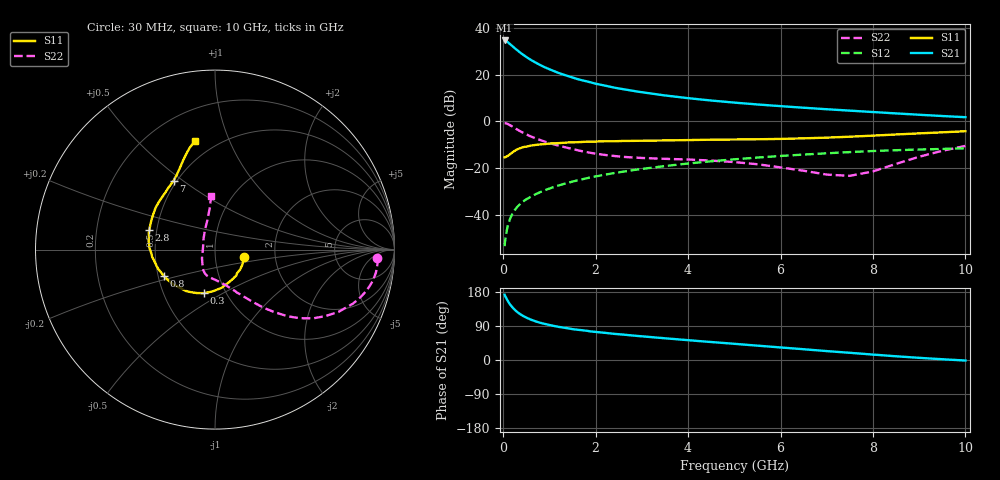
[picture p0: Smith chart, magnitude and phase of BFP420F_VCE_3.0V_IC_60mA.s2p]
! Infineon Technologies  Discrete & RF Semiconductors
! BFP420F
! VCE =  3.0 V,  IC =  60 mA
! Common Emitter S-Parameters:  Sep 2011
# GHz  S  MA  R  50
!  f  S11  S21  S12  S22
! GHz  MAG  ANG  MAG  ANG  MAG  ANG  MAG  ANG
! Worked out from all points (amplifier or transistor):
!   54 points, 30 MHz to 10 GHz, reference 50 ohm
!   highest |S21| = 34.7 dB at 30 MHz (marker M1)
!   |S21| within 3 dB of that: start of sweep to 230.6 MHz
!   unconditionally stable (mu >= 1): 1.171 GHz to end of sweep
!   at 120 MHz: K = 0.47, MSG = 38.6 dB, |S12| = -43.5 dB
!   at 1.3 GHz: K = 1.03, MAG = 22.5 dB, |S12| = -26.9 dB
!   at 10 GHz: K = 1.22, MAG = 3.9 dB, |S12| = -11.6 dB
!   S11 on the Smith chart (normalised r, x): 30 MHz: 1.38, -0.12; 300 MHz: 0.79, -0.41; 800 MHz: 0.54, -0.18; 2.8 GHz: 0.46, +0.11; 7 GHz: 0.48, +0.46; 10 GHz: 0.39, +0.75
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0.03  0.1685 -15.1  54.48 172.1  0.0021 92.4  0.9062 -2.8
0.05  0.1705 -24.0  53.22 166.9  0.0031 94.0  0.908 -6.5
0.06  0.1739 -29.9  52.94 164.6  0.0038 87.2  0.9051 -8.4
0.08  0.1784 -37.9  51.28 160.0  0.0047 83.5  0.8928 -11.8
0.1  0.181 -47.7  49.96 155.6  0.0058 81.8  0.8754 -14.9
0.13  0.1912 -58.5  46.97 149.7  0.0071 80.6  0.8456 -19.0
0.15  0.1977 -66.7  45.25 146.3  0.0083 78.7  0.8242 -21.5
0.2  0.217 -81.0  41.01 138.9  0.0105 76.4  0.7704 -26.8
0.25  0.2339 -93.8  37.09 132.4  0.0125 74.2  0.7174 -31.1
0.3  0.2504 -104.1  33.88 127.0  0.0145 72.9  0.6715 -34.7
0.4  0.2728 -119.7  28.28 118.4  0.018 71.4  0.5903 -40.0
0.5  0.2869 -131.0  24.07 111.8  0.0213 70.4  0.5254 -43.8
0.6  0.3024 -140.0  20.78 106.5  0.0242 70.0  0.4729 -46.9
0.8  0.3201 -152.4  16.19 98.2  0.0303 69.7  0.3974 -51.6
1.2  0.3419 -167.9  10.92 87.4  0.0422 69.2  0.3011 -59.3
1.7  0.3613 -179.7  7.646 78.6  0.0569 68.0  0.2296 -68.3
2.8  0.3814 163.7  4.536 64.6  0.0896 63.1  0.1681 -89.9
3.5  0.3902 155.4  3.602 57.3  0.11 59.3  0.1571 -100.8
5.5  0.4132 136.8  2.306 37.9  0.1674 46.6  0.1203 -125.1
7  0.4479 121.0  1.822 23.5  0.2066 36.4  0.0721 -164.4
8.5  0.5235 110.1  1.482 9.8  0.2407 25.4  0.1225 117.3
10  0.6148 100.6  1.23 -1.4  0.264 15.9  0.2974 94.1
